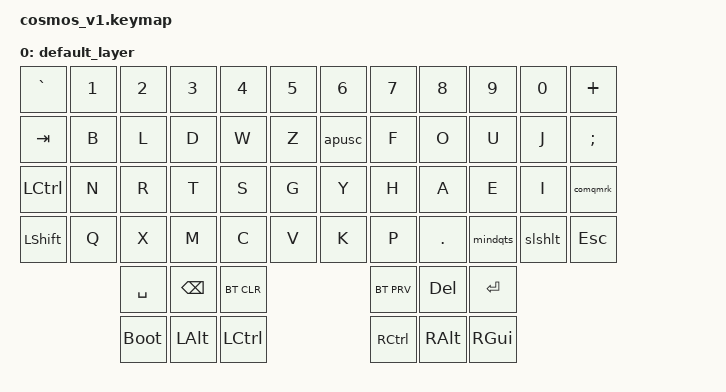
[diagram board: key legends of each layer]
#include <behaviors.dtsi>
#include <dt-bindings/zmk/keys.h>
#include <dt-bindings/zmk/bt.h>

#include "graphite_behaviors.dtsi"

#define DEFAULT 0
#define QWERTY 1
#define NAVIG 2

/ {
        keymap {
                compatible = "zmk,keymap";

                default_layer {
// GRAPHIT LAYOUT
// -----------------------------------------------------------------------------------------
// |  `   |  1  |  2  |  3  |  4  |  5  |   |  6  |  7   |  8  |  9  |  0  |  += |
// |  TAB |  B  |  L  |  D  |  W  |  Z  |   | '_  |  F   |  O  |  U  |  J  |  ;: |
// | CTRL |  N  |  R  |  T  |  S  |  G  |   |  Y  |  H   |  A  |  E  |  I  | ,?  |
// | SHFT |  Q  |  X  |  M  |  C  |  V  |   |  K  |  P   | .>  | -"  | /<  | ESC |
//                    | SPC | BSP | LA1 |   | LA2 | DEL  | ENT |
//                    | GUI | ALT | SHF |   | CTRL| ALT  | GUI |
                        bindings = <
   &kp GRAVE &kp N1 &kp N2 &kp N3 &kp N4 &kp N5    &kp N6 &kp N7 &kp N8   &kp N9   &kp N0  &kp PLUS
   &kp TAB   &kp B  &kp L  &kp D  &kp W  &kp Z     &apusc &kp F  &kp O    &kp U    &kp J   &kp SEMICOLON
   &kp LCTRL &kp N  &kp R  &kp T  &kp S  &kp G     &kp Y  &kp H  &kp A    &kp E    &kp I   &comqmrk
   &kp LSHFT &kp Q  &kp X  &kp M  &kp C  &kp V     &kp K  &kp P  &kp DOT  &mindqts &slshlt &kp ESC
                  &kp SPACE &kp BSPC &bt BT_CLR    &bt BT_PRV &kp DEL &kp RET
                  &bootloader  &kp LALT &kp LCTRL     &kp RCTRL &kp RALT &kp RGUI
                        >;
   //                      bindings = <
   // &kp TAB   &kp Q &kp W &kp E &kp R &kp T   &kp Y &kp U  &kp I     &kp O   &kp P    &kp BSPC
   // &kp LCTRL &kp A &kp S &kp D &kp F &kp G   &kp H &kp J  &kp K     &kp L   &kp SEMI &kp SQT
   // &kp LSHFT &kp Z &kp X &kp C &kp V &kp B   &kp N &kp M  &kp COMMA &kp DOT &kp FSLH &kp ESC
   //                &kp LGUI &mo 1 &kp SPACE   &kp RET &mo 2 &kp RALT
   //                      >;
                };

//                 qwerty_layer {
// // QWERTY LAYOUT for the case of madness
// // -----------------------------------------------------------------------------------------
// // |  `   |  1  |  2  |  3  |  4  |  5  |   |  6  |  7   |  8  |  9  |  0  |  -   |
// // |  TAB |  Q  |  W  |  E  |  R  |  T  |   |  Y  |  U   |  I  |  O  |  P  | BSPC |
// // | CTRL |  A  |  S  |  D  |  F  |  G  |   |  H  |  J   |  K  |  L  |  ;  |  '   |
// // | SHFT |  Z  |  X  |  C  |  V  |  B  |   |  N  |  M   |  ,  |  .  |  /  | ESC  |
// //                    | GUI | LWR | SPC |   | ENT | RSE  | ALT |
//                         bindings = <
//    &kp GRAVE   &kp N1 &kp N2 &kp N3 &kp N4 &kp N5   &kp N6 &kp N7  &kp N8     &kp N9   &kp N0    &kp PLUS
//    &kp TAB   &kp Q &kp W &kp E &kp R &kp T   &kp Y &kp U  &kp I     &kp O   &kp P    &kp BSPC
//    &kp LCTRL &kp A &kp S &kp D &kp F &kp G   &kp H &kp J  &kp K     &kp L   &kp SEMI &kp SQT
//    &kp LSHFT &kp Z &kp X &kp C &kp V &kp B   &kp N &kp M  &kp COMMA &kp DOT &kp FSLH &kp ESC
//                   &kp LGUI &bt BT_NXT &kp SPACE   &bt BT_CLR &bt BT_SEL 0 &bt BT_NXT
//                   &kp LALT &bt BT_PRV &bt BT_CLR   &kp RET &kp EQUAL &bt BT_PRV
//                         >;
//                 };
//                 lower_layer {
// // -----------------------------------------------------------------------------------------
// // |  TAB |  1  |  2  |  3  |  4  |  5  |   |  6  |  7  |  8  |  9  |  0  | BSPC |
// // | BTCLR| BT1 | BT2 | BT3 | BT4 | BT5 |   | LFT | DWN |  UP | RGT |     |      |
// // | SHFT |     |     |     |     |     |   |     |     |     |     |     |      |
// //                    | GUI |     | SPC |   | ENT |     | ALT |
//                         bindings = <
//    &kp TAB    &kp N1       &kp N2       &kp N3       &kp N4       &kp N5         &kp N6   &kp N7   &kp N8 &kp N9    &kp N0 &kp BSPC
//    &bt BT_CLR &bt BT_SEL 0 &bt BT_SEL 1 &bt BT_SEL 2 &bt BT_SEL 3 &bt BT_SEL 4   &kp LEFT &kp DOWN &kp UP &kp RIGHT &trans &trans
//    &kp LSHFT  &trans       &trans       &trans       &trans       &trans         &trans   &trans   &trans &trans    &trans &trans
//                                     &kp LGUI     &trans       &kp SPACE      &kp RET  &trans   &kp RALT
//                         >;
//                 };
//
//                 raise_layer {
// // -----------------------------------------------------------------------------------------
// // |  TAB |  !  |  @  |  #  |  $  |  %  |   |  ^  |  &  |  *  |  (  |  )  | BSPC |
// // | CTRL |     |     |     |     |     |   |  -  |  =  |  [  |  ]  |  \  |  `   |
// // | SHFT |     |     |     |     |     |   |  _  |  +  |  {  |  }  | "|" |  ~   |
// //                    | GUI |     | SPC |   | ENT |     | ALT |
//                         bindings = <
//    &kp  TAB  &kp EXCL &kp AT &kp HASH &kp DLLR &kp PRCNT   &kp CARET &kp AMPS  &kp ASTRK &kp LPAR &kp RPAR &kp BSPC
//    &kp LCTRL &trans   &trans &trans   &trans   &trans      &kp MINUS &kp EQUAL &kp LBKT  &kp RBKT &kp BSLH &kp GRAVE
//    &kp LSHFT &trans   &trans &trans   &trans   &trans      &kp UNDER &kp PLUS  &kp LBRC  &kp RBRC &kp PIPE &kp TILDE
//                              &kp LGUI &trans   &kp SPACE   &kp RET   &trans    &kp RALT
//                         >;
//                 };
        };
};
